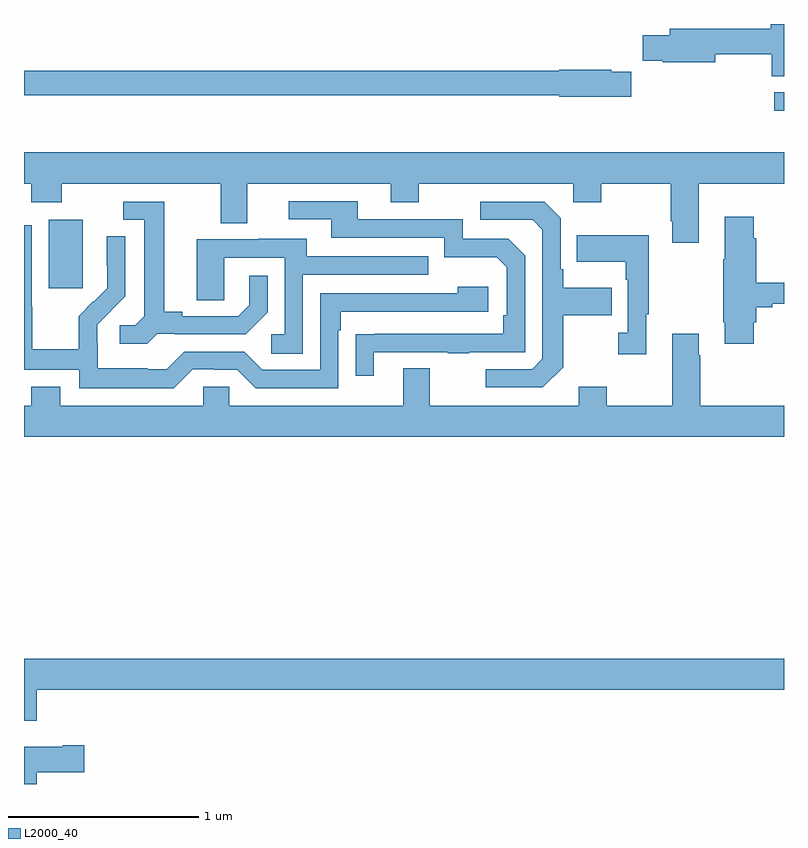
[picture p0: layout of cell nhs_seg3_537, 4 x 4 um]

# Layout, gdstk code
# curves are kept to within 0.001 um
import gdstk
lib = gdstk.Library(unit=1e-6, precision=1e-09)
def R(c, l, rs):  # rectangles x0, y0, x1, y1
    for r in rs: c.add(gdstk.rectangle(r[:2], r[2:], *l))
def P(c, l, *ps):  # polygons
    for p in ps: c.add(gdstk.Polygon(p, *l))
L2000_40 = (2000, 40)

nhs_seg3_537 = lib.new_cell('nhs_seg3_537')
R(nhs_seg3_537, L2000_40, [(137.129,723.009,137.308,723.37), (140.949,723.943,141,724.041)])
P(nhs_seg3_537, L2000_40, [(141,724.4),(140.93,724.4),(140.93,724.376),(140.399,724.376),(140.399,724.34),(140.257,724.34),(140.257,724.206),(140.362,724.206),(140.362,724.198),(140.638,724.198),(140.638,724.24),(140.935,724.24),(140.935,724.126),(141,724.126)],
  [(140.195,724.148),(140.09,724.148),(140.09,724.16),(139.818,724.16),(139.818,724.154),(137,724.154),(137,724.026),(139.818,724.026),(139.818,724.018),(140.195,724.018)],
  [(137,723.56),(137.039,723.56),(137.039,723.461),(137.199,723.461),(137.199,723.56),(138.035,723.56),(138.035,723.352),(138.175,723.352),(138.175,723.56),(138.929,723.56),(138.929,723.461),(139.077,723.461),(139.077,723.56),(139.89,723.56),(139.89,723.461),(140.037,723.461),(140.037,723.56),(140.404,723.56),(140.404,723.361),(140.411,723.361),(140.411,723.249),(140.551,723.249),(140.551,723.56),(141,723.56),(141,723.724),(137,723.724)],
  [(138.841,722.673),(139.231,722.673),(139.231,722.668),(139.343,722.668),(139.343,722.673),(139.638,722.673),(139.638,723.18),(139.548,723.27),(139.308,723.27),(139.308,723.372),(138.757,723.372),(138.757,723.468),(138.393,723.468),(138.393,723.372),(138.617,723.372),(138.617,723.276),(139.212,723.276),(139.212,723.173),(139.489,723.173),(139.542,723.12),(139.542,722.866),(139.522,722.866),(139.522,722.769),(138.745,722.768),(138.745,722.55),(138.841,722.55)],
  [(137.7,722.769),(137.794,722.769),(137.794,722.766),(138.166,722.766),(138.282,722.882),(138.282,723.076),(138.185,723.076),(138.185,722.919),(138.128,722.862),(137.833,722.862),(137.833,722.885),(137.737,722.885),(137.737,723.465),(137.523,723.465),(137.523,723.369),(137.633,723.369),(137.633,722.861),(137.586,722.814),(137.505,722.814),(137.505,722.717),(137.648,722.717)],
  [(139.837,722.593),(139.837,722.866),(140.093,722.866),(140.093,723.013),(139.837,723.013),(139.837,723.109),(139.824,723.109),(139.824,723.378),(139.737,723.465),(139.401,723.465),(139.401,723.369),(139.677,723.369),(139.728,723.318),(139.728,722.637),(139.674,722.583),(139.431,722.583),(139.431,722.487),(139.731,722.487)],
  [(140.842,722.831),(140.855,722.831),(140.855,722.908),(140.938,722.908),(140.938,722.927),(141,722.927),(141,723.037),(140.855,723.037),(140.855,723.272),(140.842,723.272),(140.842,723.385),(140.687,723.385),(140.687,723.161),(140.68,723.161),(140.68,722.83),(140.687,722.83),(140.687,722.718),(140.842,722.718)],
  [(137.889,722.583),(138.005,722.583),(138.005,722.58),(138.123,722.58),(138.219,722.484),(138.654,722.484),(138.654,722.789),(138.667,722.789),(138.667,722.886),(139.444,722.886),(139.444,723.016),(139.283,723.016),(139.283,722.982),(138.558,722.982),(138.558,722.58),(138.255,722.58),(138.159,722.676),(137.844,722.676),(137.751,722.583),(137.651,722.583),(137.651,722.587),(137.388,722.587),(137.388,722.721),(137.386,722.721),(137.386,722.818),(137.532,722.966),(137.532,723.284),(137.436,723.284),(137.436,723.13),(137.438,723.13),(137.438,723.008),(137.367,722.937),(137.364,722.94),(137.287,722.863),(137.287,722.689),(137.043,722.689),(137.043,722.912),(137.04,722.912),(137.04,723.342),(137,723.342),(137,722.58),(137.292,722.58),(137.292,722.483),(137.789,722.483)],
  [(140.275,722.873),(140.287,722.873),(140.287,723.289),(139.909,723.289),(139.909,723.149),(140.166,723.149),(140.166,723.053),(140.178,723.053),(140.178,722.774),(140.127,722.774),(140.127,722.661),(140.275,722.661)],
  [(138.468,723.081),(139.127,723.081),(139.127,723.177),(138.487,723.177),(138.487,723.271),(138.233,723.271),(138.233,723.267),(137.909,723.267),(137.909,722.947),(138.054,722.947),(138.054,723.171),(138.372,723.171),(138.372,722.766),(138.3,722.766),(138.3,722.665),(138.468,722.665)],
  [(141,722.392),(140.559,722.392),(140.559,722.657),(140.551,722.657),(140.551,722.77),(140.411,722.77),(140.411,722.392),(140.067,722.392),(140.067,722.491),(139.919,722.491),(139.919,722.392),(139.135,722.392),(139.135,722.587),(138.995,722.587),(138.995,722.392),(138.081,722.392),(138.081,722.49),(137.943,722.49),(137.943,722.392),(137.191,722.392),(137.191,722.491),(137.039,722.491),(137.039,722.392),(137,722.392),(137,722.228),(141,722.228)],
  [(137.066,720.896),(141,720.896),(141,721.06),(137,721.06),(137,720.732),(137.066,720.732)],
  [(137.068,720.461),(137.317,720.461),(137.317,720.603),(137.204,720.603),(137.204,720.595),(137,720.595),(137,720.4),(137.068,720.4)])

lib.write_gds('nhs_seg3_537.gds')
